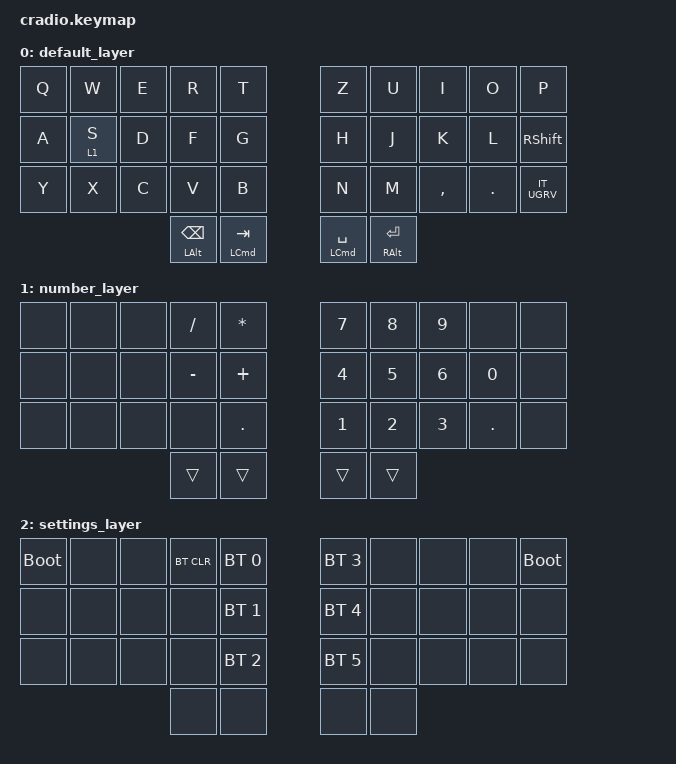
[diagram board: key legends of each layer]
/*
 * Copyright (c) 2020 The ZMK Contributors
 *
 * SPDX-License-Identifier: MIT
 */

#include "keymap_italian.h"
#include <behaviors.dtsi>
#include <dt-bindings/zmk/bt.h>
#include <dt-bindings/zmk/keys.h>

// Layer definitions

#define BASE 0
#define SYM 1
#define EXT 2
#define FNC 3
#define SYM2 4
#define ACCENT 5
#define SETTINGS 6

// -----------------

&mt {
    //  flavor = "tap-preferred";
    // tapping_term_ms = <200>;
};

&sk { ignore-modifiers; };

/ {
    macros {
        // sometimes my device thinks a modifier is being held down
        // pressing all modifiers fixes it.
    };

    combos {
        compatible = "zmk,combos";

        // both right thumb keys
        // internal-left & external-right thumb keys
        // both left thumb keys
    };

    keymap {
        compatible = "zmk,keymap";

        // Base alpha layer

        default_layer {
            bindings = <
  &kp Q  &kp W    &kp E  &kp R                   &kp T                   &kp Z                   &kp U                &kp I      &kp O    &kp P
  &kp A  &lt 1 S  &kp D  &kp F                   &kp G                   &kp H                   &kp J                &kp K      &kp L    &kp RIGHT_SHIFT
  &kp Y  &kp X    &kp C  &kp V                   &kp B                   &kp N                   &kp M                &kp COMMA  &kp DOT  &kp IT_UGRV
                         &mt LEFT_ALT BACKSPACE  &mt LEFT_COMMAND TAB    &mt LEFT_COMMAND SPACE  &mt RIGHT_ALT ENTER
            >;
        };

        // Numbers and high frequency symbols

        number_layer {
            bindings = <
  &none  &none  &none  &kp SLASH  &kp STAR    &kp N7  &kp N8  &kp N9  &none    &none
  &none  &none  &none  &kp MINUS  &kp PLUS    &kp N4  &kp N5  &kp N6  &kp N0   &none
  &none  &none  &none  &none      &kp DOT     &kp N1  &kp N2  &kp N3  &kp DOT  &none
                       &trans     &trans      &trans  &trans
            >;
        };

        // Main modifiers and arrow keys
        // Function keys with modifiers
        // Low frequency symbols.
        // Used to type regional accents.
        // Used to change the keyboard's settings.

        settings_layer {
            bindings = <
  &bootloader  &none  &none  &bt BT_CLR  &bt BT_SEL 0    &bt BT_SEL 3  &none  &none  &none  &bootloader
  &none        &none  &none  &none       &bt BT_SEL 1    &bt BT_SEL 4  &none  &none  &none  &none
  &none        &none  &none  &none       &bt BT_SEL 2    &bt BT_SEL 5  &none  &none  &none  &none
                             &none       &none           &none         &none
            >;
        };
    };
};
